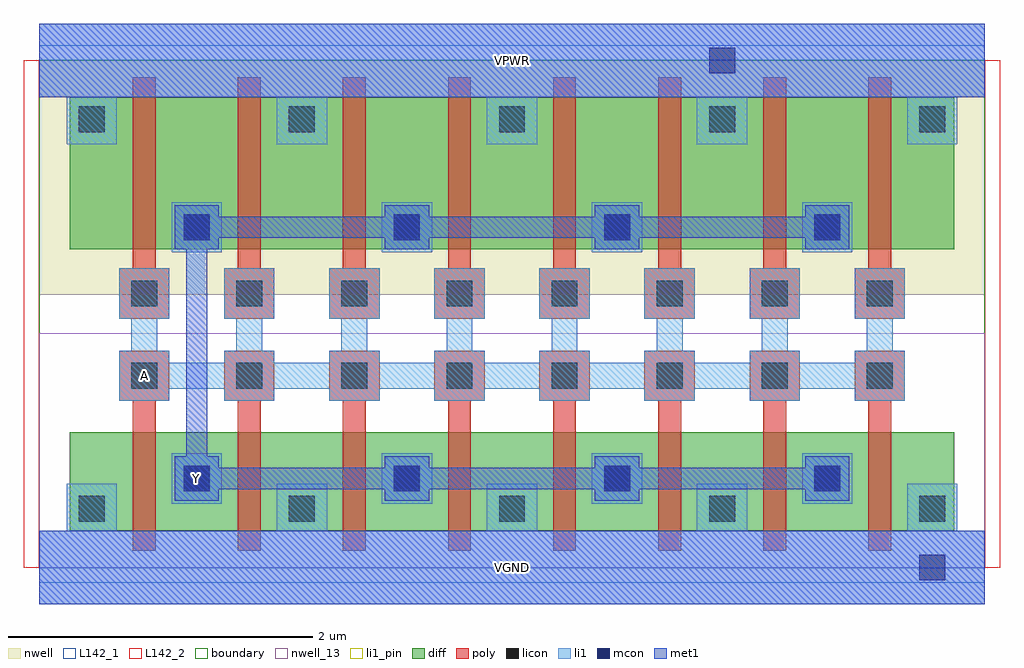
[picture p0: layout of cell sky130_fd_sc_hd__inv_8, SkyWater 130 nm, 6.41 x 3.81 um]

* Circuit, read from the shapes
.subckt sky130_fd_sc_hd__inv_8 A VGND VPWR Y
XM1 Y A VGND VSUBS sky130_fd_pr__nfet_01v8 w=0.65 l=0.15 m=8
XM2 Y A VPWR n1 sky130_fd_pr__pfet_01v8 w=1 l=0.15 m=8
.ends

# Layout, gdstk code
import gdstk
lib = gdstk.Library(unit=1e-6, precision=1e-09)
def R(c, l, rs):  # rectangles x0, y0, x1, y1
    for r in rs: c.add(gdstk.rectangle(r[:2], r[2:], *l))
def A(c, l, x, y, w, h, nx, ny, dx, dy):  # array of equal rectangles
    R(c, l, [(x+i*dx, y+j*dy, x+i*dx+w, y+j*dy+h) for i in range(nx) for j in range(ny)])
def P(c, l, *ps):  # polygons
    for p in ps: c.add(gdstk.Polygon(p, *l))
nwell_13 = (64, 13)
nwell = (64, 20)
diff = (65, 20)
poly = (66, 20)
licon = (66, 44)
li1_pin = (67, 16)
li1 = (67, 20)
mcon = (67, 44)
met1 = (68, 20)
L142_1 = (142, 1)
L142_2 = (142, 2)
boundary = (235, 4)

sky130_fd_sc_hd__inv_8 = lib.new_cell('sky130_fd_sc_hd__inv_8')
R(sky130_fd_sc_hd__inv_8, nwell_13, [(0,0,6.21,1.54)])
R(sky130_fd_sc_hd__inv_8, nwell, [(0,1.79,6.21,3.33)])
A(sky130_fd_sc_hd__inv_8, diff, 0.615, 0.24, 0.69, 0.65, 7, 1, 0.69, 0)
A(sky130_fd_sc_hd__inv_8, diff, 0.615, 2.09, 0.69, 1, 7, 1, 0.69, 0)
R(sky130_fd_sc_hd__inv_8, diff, [(0.2,0.24,6.01,0.89), (0.2,0.24,0.615,0.89), (5.445,0.24,6.01,0.89), (0.2,2.09,6.01,3.09), (0.2,2.09,0.615,3.09), (5.445,2.09,6.01,3.09)])
P(sky130_fd_sc_hd__inv_8, poly, [(0.615,0.11),(0.615,1.095),(0.525,1.095),(0.525,1.425),(0.855,1.425),(0.855,1.095),(0.765,1.095),(0.765,0.11)],
  [(1.305,0.11),(1.305,1.095),(1.215,1.095),(1.215,1.425),(1.545,1.425),(1.545,1.095),(1.455,1.095),(1.455,0.11)],
  [(1.995,0.11),(1.995,1.095),(1.905,1.095),(1.905,1.425),(2.235,1.425),(2.235,1.095),(2.145,1.095),(2.145,0.11)],
  [(2.685,0.11),(2.685,1.095),(2.595,1.095),(2.595,1.425),(2.925,1.425),(2.925,1.095),(2.835,1.095),(2.835,0.11)],
  [(3.375,0.11),(3.375,1.095),(3.285,1.095),(3.285,1.425),(3.615,1.425),(3.615,1.095),(3.525,1.095),(3.525,0.11)],
  [(4.065,0.11),(4.065,1.095),(3.975,1.095),(3.975,1.425),(4.305,1.425),(4.305,1.095),(4.215,1.095),(4.215,0.11)],
  [(4.755,0.11),(4.755,1.095),(4.665,1.095),(4.665,1.425),(4.995,1.425),(4.995,1.095),(4.905,1.095),(4.905,0.11)],
  [(5.445,0.11),(5.445,1.095),(5.355,1.095),(5.355,1.425),(5.685,1.425),(5.685,1.095),(5.595,1.095),(5.595,0.11)],
  [(0.525,1.635),(0.525,1.965),(0.615,1.965),(0.615,3.22),(0.765,3.22),(0.765,1.965),(0.855,1.965),(0.855,1.635)],
  [(1.215,1.635),(1.215,1.965),(1.305,1.965),(1.305,3.22),(1.455,3.22),(1.455,1.965),(1.545,1.965),(1.545,1.635)],
  [(1.905,1.635),(1.905,1.965),(1.995,1.965),(1.995,3.22),(2.145,3.22),(2.145,1.965),(2.235,1.965),(2.235,1.635)],
  [(2.595,1.635),(2.595,1.965),(2.685,1.965),(2.685,3.22),(2.835,3.22),(2.835,1.965),(2.925,1.965),(2.925,1.635)],
  [(3.285,1.635),(3.285,1.965),(3.375,1.965),(3.375,3.22),(3.525,3.22),(3.525,1.965),(3.615,1.965),(3.615,1.635)],
  [(3.975,1.635),(3.975,1.965),(4.065,1.965),(4.065,3.22),(4.215,3.22),(4.215,1.965),(4.305,1.965),(4.305,1.635)],
  [(4.665,1.635),(4.665,1.965),(4.755,1.965),(4.755,3.22),(4.905,3.22),(4.905,1.965),(4.995,1.965),(4.995,1.635)],
  [(5.355,1.635),(5.355,1.965),(5.445,1.965),(5.445,3.22),(5.595,3.22),(5.595,1.965),(5.685,1.965),(5.685,1.635)])
A(sky130_fd_sc_hd__inv_8, licon, 0.26, 0.3, 0.17, 0.17, 5, 2, 1.38, 2.56)
A(sky130_fd_sc_hd__inv_8, licon, 0.95, 0.5, 0.17, 0.17, 4, 2, 1.38, 1.65)
A(sky130_fd_sc_hd__inv_8, licon, 0.605, 1.175, 0.17, 0.17, 8, 2, 0.69, 0.54)
R(sky130_fd_sc_hd__inv_8, li1_pin, [(0,-0.24,6.21,0.24), (0.87,0.42,1.2,0.75), (0,3.09,6.21,3.57)])
P(sky130_fd_sc_hd__inv_8, li1_pin, [(0.525,1.095),(0.525,1.425),(0.605,1.425),(0.605,1.635),(0.525,1.635),(0.525,1.965),(0.855,1.965),(0.855,1.635),(0.775,1.635),(0.775,1.425),(0.855,1.425),(0.855,1.345),(1.215,1.345),(1.215,1.425),(1.295,1.425),(1.295,1.635),(1.215,1.635),(1.215,1.965),(1.545,1.965),(1.545,1.635),(1.465,1.635),(1.465,1.425),(1.545,1.425),(1.545,1.345),(1.905,1.345),(1.905,1.425),(1.985,1.425),(1.985,1.635),(1.905,1.635),(1.905,1.965),(2.235,1.965),(2.235,1.635),(2.155,1.635),(2.155,1.425),(2.235,1.425),(2.235,1.345),(2.595,1.345),(2.595,1.425),(2.675,1.425),(2.675,1.635),(2.595,1.635),(2.595,1.965),(2.925,1.965),(2.925,1.635),(2.845,1.635),(2.845,1.425),(2.925,1.425),(2.925,1.345),(3.285,1.345),(3.285,1.425),(3.365,1.425),(3.365,1.635),(3.285,1.635),(3.285,1.965),(3.615,1.965),(3.615,1.635),(3.535,1.635),(3.535,1.425),(3.615,1.425),(3.615,1.345),(3.975,1.345),(3.975,1.425),(4.055,1.425),(4.055,1.635),(3.975,1.635),(3.975,1.965),(4.305,1.965),(4.305,1.635),(4.225,1.635),(4.225,1.425),(4.305,1.425),(4.305,1.345),(4.665,1.345),(4.665,1.425),(4.745,1.425),(4.745,1.635),(4.665,1.635),(4.665,1.965),(4.995,1.965),(4.995,1.635),(4.915,1.635),(4.915,1.425),(4.995,1.425),(4.995,1.345),(5.355,1.345),(5.355,1.425),(5.435,1.425),(5.435,1.635),(5.355,1.635),(5.355,1.965),(5.685,1.965),(5.685,1.635),(5.605,1.635),(5.605,1.425),(5.685,1.425),(5.685,1.095),(5.355,1.095),(5.355,1.175),(4.995,1.175),(4.995,1.095),(4.665,1.095),(4.665,1.175),(4.305,1.175),(4.305,1.095),(3.975,1.095),(3.975,1.175),(3.615,1.175),(3.615,1.095),(3.285,1.095),(3.285,1.175),(2.925,1.175),(2.925,1.095),(2.595,1.095),(2.595,1.175),(2.235,1.175),(2.235,1.095),(1.905,1.095),(1.905,1.175),(1.545,1.175),(1.545,1.095),(1.215,1.095),(1.215,1.175),(0.855,1.175),(0.855,1.095)])
A(sky130_fd_sc_hd__inv_8, li1, 0.87, 0.42, 0.33, 0.33, 4, 2, 1.38, 1.65)
P(sky130_fd_sc_hd__inv_8, li1, [(0.18,2.78),(0.18,3.09),(0,3.09),(0,3.57),(6.21,3.57),(6.21,3.09),(6.03,3.09),(6.03,2.78),(5.7,2.78),(5.7,3.09),(4.65,3.09),(4.65,2.78),(4.32,2.78),(4.32,3.09),(3.27,3.09),(3.27,2.78),(2.94,2.78),(2.94,3.09),(1.89,3.09),(1.89,2.78),(1.56,2.78),(1.56,3.09),(0.51,3.09),(0.51,2.78)],
  [(0,-0.24),(0,0.24),(0.18,0.24),(0.18,0.55),(0.51,0.55),(0.51,0.24),(1.56,0.24),(1.56,0.55),(1.89,0.55),(1.89,0.24),(2.94,0.24),(2.94,0.55),(3.27,0.55),(3.27,0.24),(4.32,0.24),(4.32,0.55),(4.65,0.55),(4.65,0.24),(5.7,0.24),(5.7,0.55),(6.03,0.55),(6.03,0.24),(6.21,0.24),(6.21,-0.24)],
  [(0.525,1.095),(0.525,1.425),(0.605,1.425),(0.605,1.635),(0.525,1.635),(0.525,1.965),(0.855,1.965),(0.855,1.635),(0.775,1.635),(0.775,1.425),(0.855,1.425),(0.855,1.345),(1.215,1.345),(1.215,1.425),(1.295,1.425),(1.295,1.635),(1.215,1.635),(1.215,1.965),(1.545,1.965),(1.545,1.635),(1.465,1.635),(1.465,1.425),(1.545,1.425),(1.545,1.345),(1.905,1.345),(1.905,1.425),(1.985,1.425),(1.985,1.635),(1.905,1.635),(1.905,1.965),(2.235,1.965),(2.235,1.635),(2.155,1.635),(2.155,1.425),(2.235,1.425),(2.235,1.345),(2.595,1.345),(2.595,1.425),(2.675,1.425),(2.675,1.635),(2.595,1.635),(2.595,1.965),(2.925,1.965),(2.925,1.635),(2.845,1.635),(2.845,1.425),(2.925,1.425),(2.925,1.345),(3.285,1.345),(3.285,1.425),(3.365,1.425),(3.365,1.635),(3.285,1.635),(3.285,1.965),(3.615,1.965),(3.615,1.635),(3.535,1.635),(3.535,1.425),(3.615,1.425),(3.615,1.345),(3.975,1.345),(3.975,1.425),(4.055,1.425),(4.055,1.635),(3.975,1.635),(3.975,1.965),(4.305,1.965),(4.305,1.635),(4.225,1.635),(4.225,1.425),(4.305,1.425),(4.305,1.345),(4.665,1.345),(4.665,1.425),(4.745,1.425),(4.745,1.635),(4.665,1.635),(4.665,1.965),(4.995,1.965),(4.995,1.635),(4.915,1.635),(4.915,1.425),(4.995,1.425),(4.995,1.345),(5.355,1.345),(5.355,1.425),(5.435,1.425),(5.435,1.635),(5.355,1.635),(5.355,1.965),(5.685,1.965),(5.685,1.635),(5.605,1.635),(5.605,1.425),(5.685,1.425),(5.685,1.095),(5.355,1.095),(5.355,1.175),(4.995,1.175),(4.995,1.095),(4.665,1.095),(4.665,1.175),(4.305,1.175),(4.305,1.095),(3.975,1.095),(3.975,1.175),(3.615,1.175),(3.615,1.095),(3.285,1.095),(3.285,1.175),(2.925,1.175),(2.925,1.095),(2.595,1.095),(2.595,1.175),(2.235,1.175),(2.235,1.095),(1.905,1.095),(1.905,1.175),(1.545,1.175),(1.545,1.095),(1.215,1.095),(1.215,1.175),(0.855,1.175),(0.855,1.095)])
A(sky130_fd_sc_hd__inv_8, mcon, 0.95, 0.5, 0.17, 0.17, 4, 2, 1.38, 1.65)
R(sky130_fd_sc_hd__inv_8, mcon, [(5.78,-0.085,5.95,0.085), (4.4,3.245,4.57,3.415)])
R(sky130_fd_sc_hd__inv_8, met1, [(0,-0.24,6.21,0.24), (0,3.09,6.21,3.57)])
P(sky130_fd_sc_hd__inv_8, met1, [(0.89,0.44),(0.89,0.73),(0.965,0.73),(0.965,2.09),(0.89,2.09),(0.89,2.38),(1.18,2.38),(1.18,2.305),(2.27,2.305),(2.27,2.38),(2.56,2.38),(2.56,2.305),(3.65,2.305),(3.65,2.38),(3.94,2.38),(3.94,2.305),(5.03,2.305),(5.03,2.38),(5.32,2.38),(5.32,2.09),(5.03,2.09),(5.03,2.165),(3.94,2.165),(3.94,2.09),(3.65,2.09),(3.65,2.165),(2.56,2.165),(2.56,2.09),(2.27,2.09),(2.27,2.165),(1.18,2.165),(1.18,2.09),(1.105,2.09),(1.105,0.73),(1.18,0.73),(1.18,0.655),(2.27,0.655),(2.27,0.73),(2.56,0.73),(2.56,0.655),(3.65,0.655),(3.65,0.73),(3.94,0.73),(3.94,0.655),(5.03,0.655),(5.03,0.73),(5.32,0.73),(5.32,0.44),(5.03,0.44),(5.03,0.515),(3.94,0.515),(3.94,0.44),(3.65,0.44),(3.65,0.515),(2.56,0.515),(2.56,0.44),(2.27,0.44),(2.27,0.515),(1.18,0.515),(1.18,0.44)])
R(sky130_fd_sc_hd__inv_8, L142_1, [(0,-0.1,6.21,0), (0,3.33,6.21,3.43)])
R(sky130_fd_sc_hd__inv_8, L142_2, [(-0.1,0,0,3.33), (6.21,0,6.31,3.33)])
R(sky130_fd_sc_hd__inv_8, boundary, [(0,0,6.21,3.33)])
sky130_fd_sc_hd__inv_8.add(gdstk.Label('Y', (1.035,0.585), layer=67, texttype=5))
sky130_fd_sc_hd__inv_8.add(gdstk.Label('A', (0.69,1.26), layer=67, texttype=5))
sky130_fd_sc_hd__inv_8.add(gdstk.Label('VGND', (3.105,0), layer=67, texttype=5))
sky130_fd_sc_hd__inv_8.add(gdstk.Label('VPWR', (3.105,3.33), layer=67, texttype=5))
sky130_fd_sc_hd__inv_8.add(gdstk.Label('VGND', (3.105,0), layer=68, texttype=5))
sky130_fd_sc_hd__inv_8.add(gdstk.Label('VPWR', (3.105,3.33), layer=68, texttype=5))

lib.write_gds('sky130_fd_sc_hd__inv_8.gds')
